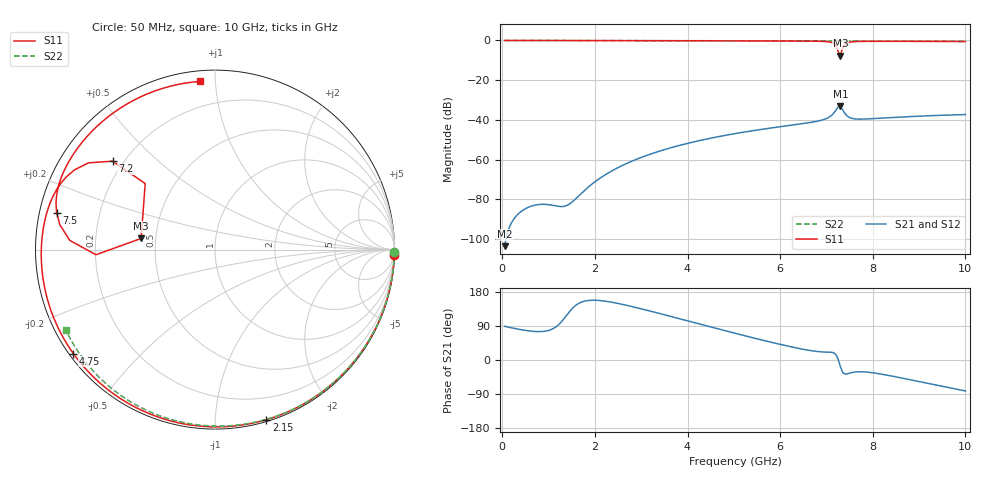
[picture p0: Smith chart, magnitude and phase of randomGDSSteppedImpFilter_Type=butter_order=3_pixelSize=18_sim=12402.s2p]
! freq	dB(S11)	phase(S11)	dB(S12)	phase(S12)
!  dB(S21)	phase(S21)	dB(S22)	phase(S22)
!S-par simulation data
#  GHz  S  DB  R 50
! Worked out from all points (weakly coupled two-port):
!   200 points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, 50 MHz to 10 GHz, reference 50 ohm
!   highest |S21| = -33.21 dB at 7.3 GHz (marker M1); lowest = -103.6 dB at 50 MHz (marker M2)
!   lowest |S11| = -7.6 dB at 7.3 GHz (marker M3), VSWR 2.43, Z = 20.7 + j3.12 ohm
!   |S11| at or under -10 dB: nowhere
!   |S22| runs from -0.5 to 0.0 dB; largest |S21 - S12| = 0
!   S11 on the Smith chart (normalised r, x): 50 MHz: 0, -63; 2.15 GHz: 0.01, -1.35; 4.75 GHz: 0.01, -0.33; 7.2 GHz: 0.16, +0.36; 7.5 GHz: 0.05, +0.12; 10 GHz: 0.06, +0.92
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0.05  -0.00 -1.8  -103.59 88.9  -103.59 88.9  -0.00 -0.9
0.75  -0.03 -26.7  -82.74 75.0  -82.74 75.0  -0.02 -13.0
1.55  -0.07 -54.0  -80.47 140.8  -80.47 140.8  -0.03 -26.7
1.75  -0.07 -60.5  -76.04 154.4  -76.04 154.4  -0.04 -30.1
2.15  -0.09 -73.2  -68.72 156.4  -68.72 156.4  -0.05 -36.8
2.7  -0.11 -89.7  -61.78 143.9  -61.78 143.9  -0.06 -45.8
3.4  -0.13 -109.3  -55.69 122.6  -55.69 122.6  -0.08 -57.1
4.75  -0.18 -143.7  -48.06 79.3  -48.06 79.3  -0.12 -78.0
5.05  -0.20 -150.9  -46.80 69.8  -46.80 69.8  -0.13 -82.5
5.9  -0.25 -171.1  -43.76 44.1  -43.76 44.1  -0.16 -94.9
6.7  -0.35 168.2  -41.11 24.0  -41.11 24.0  -0.21 -106.2
7.05  -0.70 154.0  -38.73 20.7  -38.73 20.7  -0.23 -111.1
7.2  -2.45 139.2  -35.26 15.1  -35.26 15.1  -0.24 -113.2
7.25  -5.43 136.6  -33.54 3.2  -33.54 3.2  -0.24 -113.9
7.3  -7.61 171.4  -33.21 -17.5  -33.21 -17.5  -0.24 -114.6
7.35  -3.56 -177.5  -34.94 -32.7  -34.94 -32.7  -0.25 -115.3
7.4  -1.82 176.4  -36.82 -37.0  -36.82 -37.0  -0.25 -116.0
7.5  -0.85 166.8  -38.82 -34.8  -38.82 -34.8  -0.26 -117.3
7.8  -0.47 153.2  -39.59 -31.2  -39.59 -31.2  -0.28 -121.5
8.35  -0.43 137.6  -38.90 -40.9  -38.90 -40.9  -0.33 -129.0
9.2  -0.48 115.8  -37.93 -61.9  -37.93 -61.9  -0.41 -140.6
10  -0.53 95.0  -37.31 -81.7  -37.31 -81.7  -0.50 -151.7
